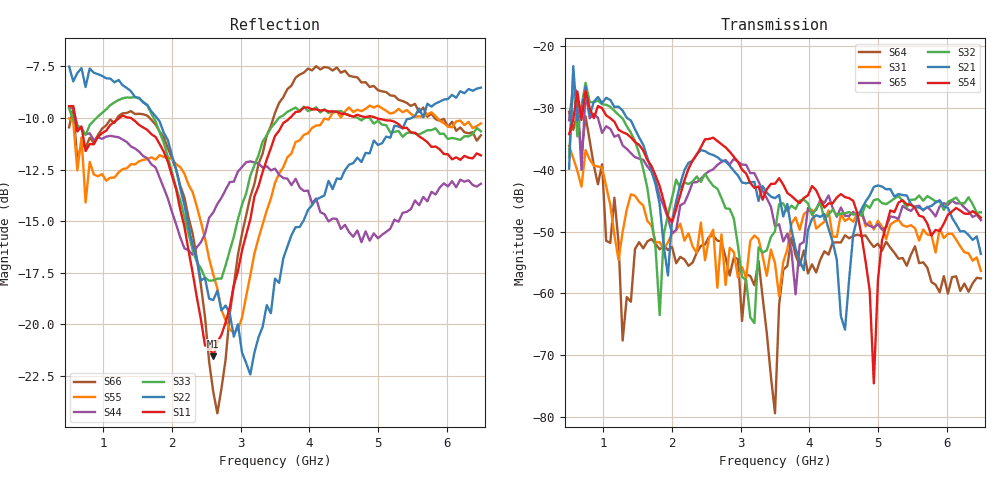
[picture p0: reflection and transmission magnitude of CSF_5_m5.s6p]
!Keysight Technologies,M9804A,MY58100912,A.14.10.03
!Date: Thursday, April 27, 2023 10:28:33
!Correction: S11(C  6-Port  )
!S12(C  6-Port  )
!S13(C  6-Port  )
!S14(C  6-Port  )
!S15(C  6-Port  )
!S16(C  6-Port  )
!S21(C  6-Port  )
!S22(C  6-Port  )
!S23(C  6-Port  )
!S24(C  6-Port  )
!S25(C  6-Port  )
!S26(C  6-Port  )
!S31(C  6-Port  )
!S32(C  6-Port  )
!S33(C  6-Port  )
!S34(C  6-Port  )
!S35(C  6-Port  )
!S36(C  6-Port  )
!S41(C  6-Port  )
!S42(C  6-Port  )
!S43(C  6-Port  )
!S44(C  6-Port  )
!S45(C  6-Port  )
!S46(C  6-Port  )
!S51(C  6-Port  )
!S52(C  6-Port  )
!S53(C  6-Port  )
!S54(C  6-Port  )
!S55(C  6-Port  )
!S56(C  6-Port  )
!S61(C  6-Port  )
!S62(C  6-Port  )
!S63(C  6-Port  )
!S64(C  6-Port  )
!S65(C  6-Port  )
!S66(C  6-Port  )
!S6P File: Measurement: :
# Hz S  RI  R 50
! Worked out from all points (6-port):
!   101 points, 500 MHz to 6.5 GHz, reference 50 ohm
!   strongest paths, dB at 500 MHz, 2 GHz, 3.5 GHz, 5 GHz, 6.5 GHz:
!     S54: -34.2, -48.5, -42.2, -57.8, -47.8
!     S21: -39.8, -48.1, -44.6, -42.5, -53.6
!     S32: -37.9, -44.5, -49.9, -44.8, -46.9
!     S65: -32.0, -50.3, -49.1, -48.8, -48.1
!     S31: -36.1, -50.3, -55.1, -48.2, -56.4
!     S64: -30.6, -52.5, -79.4, -51.9, -57.6
!   lowest |S11| = -21.6 dB at 2.6 GHz (marker M1), VSWR 1.18, Z = 42.6 + j2.11 ohm
!   |S11| at or under -10 dB: 588.1 MHz to 1.233 GHz (644.9 MHz wide, 70.8 % of centre); 1.401 GHz to 3.717 GHz (2.316 GHz wide, 90.5 % of centre); 4.975 GHz to end of sweep
